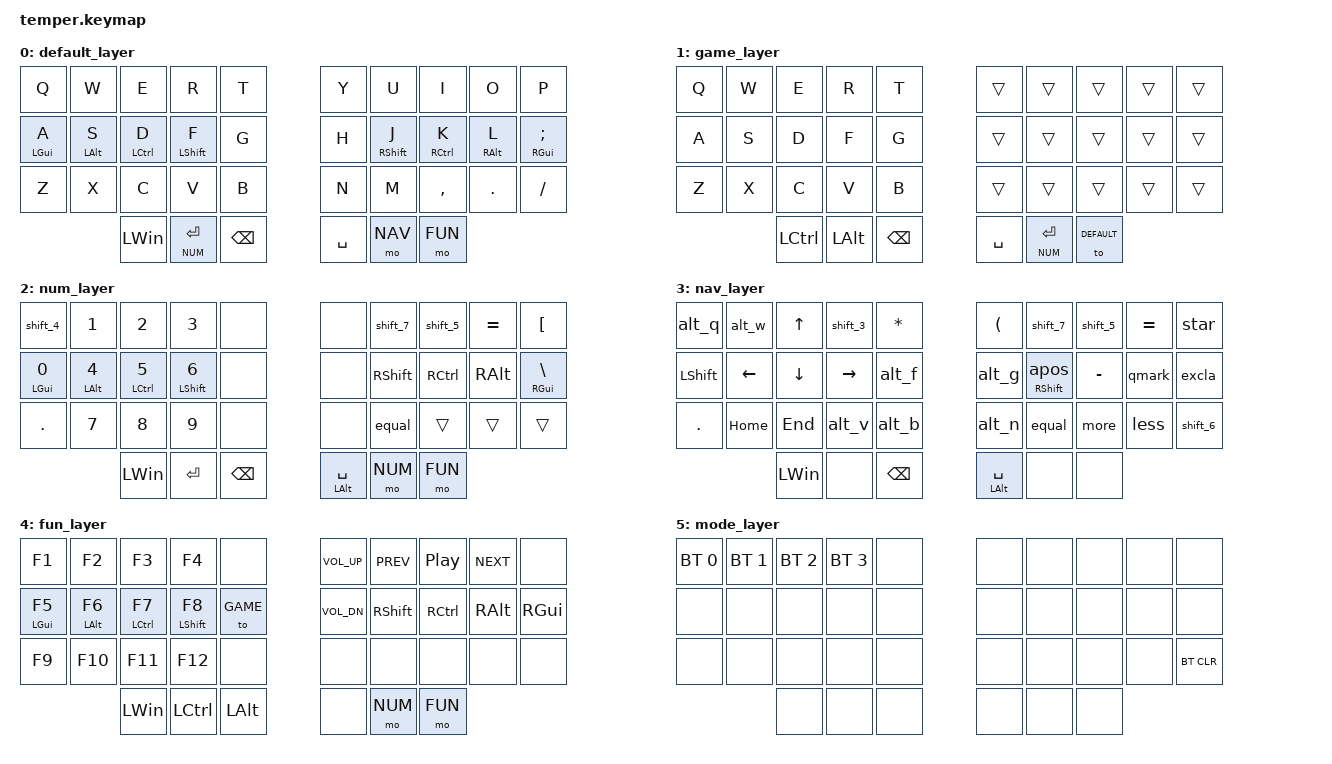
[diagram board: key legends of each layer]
#include <behaviors.dtsi>
#include <dt-bindings/zmk/keys.h>
#include <dt-bindings/zmk/bt.h>
#include <dt-bindings/zmk/outputs.h>

#define DEFAULT 0
#define GAME 1
#define NUM 2
#define NAV 3
#define FUN 4
#define MODE 5

#define ______ &trans
#define xxxxxx &none

/ {
    behaviors {
        hm: homerow_mods {
            compatible = "zmk,behavior-hold-tap";
            #binding-cells = <2>;
            tapping-term-ms = <200>;
            quick-tap-ms = <175>;
            flavor = "balanced";
            bindings = <&kp>, <&kp>;
        };
        hrsft: homerow_shift {
            compatible = "zmk,behavior-hold-tap";
            #binding-cells = <2>;
            tapping-term-ms = <185>;
            quick-tap-ms = <175>;
            flavor = "balanced";
            bindings = <&kp>, <&kp>;
        };
        hrwin: homerow_win {
            compatible = "zmk,behavior-hold-tap";
            #binding-cells = <2>;
            tapping-term-ms = <300>;
            quick-tap-ms = <175>;
            flavor = "balanced";
            bindings = <&kp>, <&kp>;
        };
    hm_fun: homerow_mod_fun {
            compatible = "zmk,behavior-hold-tap";
            #binding-cells = <2>;
            tapping-term-ms = <175>;
            quick-tap-ms = <150>;
            flavor = "balanced";
            bindings = <&kp>, <&apos>;
        };
    tm: thumb_mod {
            compatible = "zmk,behavior-hold-tap";
            #binding-cells = <2>;
            tapping-term-ms = <175>;
            quick-tap-ms = <150>;
            flavor = "hold-preferred";
            bindings = <&mo>, <&kp>;
        };
    };

combos {
        compatible = "zmk,combos";
        combo_esc { timeout-ms = <35>; key-positions = <1 2>; bindings = <&kp ESC>; layers = <0 1 2 3 4>; };
        combo_tab { timeout-ms = <40>; key-positions = <11 12>; bindings = <&kp TAB>; layers = <0 2 3 4>; };
        combo_caps { timeout-ms = <40>; key-positions = <28 29>; bindings = <&kp CAPS>; layers = <0 1 2 3 4>; };
        combo_del { timeout-ms = <40>; key-positions = <22 23>; bindings = <&kp DEL>; layers = <0 2 3 4>; };
        combo_space { timeout-ms = <70>; key-positions = <2 32>; bindings = <&kp SPACE>; layers = <0 2 3 4>; };
    };

    macros {
        alt_f: alt_f { compatible = "zmk,behavior-macro"; #binding-cells = <0>; bindings = <&macro_press &kp RALT>, <&macro_tap &kp F>, <&macro_release &kp RALT>; };
        alt_g: alt_g { compatible = "zmk,behavior-macro"; #binding-cells = <0>; bindings = <&macro_press &kp RALT>, <&macro_tap &kp G>, <&macro_release &kp RALT>; };
        alt_q: alt_q { compatible = "zmk,behavior-macro"; #binding-cells = <0>; bindings = <&macro_press &kp RALT>, <&macro_tap &kp Q>, <&macro_release &kp RALT>; };
        alt_w: alt_w { compatible = "zmk,behavior-macro"; #binding-cells = <0>; bindings = <&macro_press &kp RALT>, <&macro_tap &kp W>, <&macro_release &kp RALT>; };
        alt_v: alt_v { compatible = "zmk,behavior-macro"; #binding-cells = <0>; bindings = <&macro_press &kp RALT>, <&macro_tap &kp V>, <&macro_release &kp RALT>; };
        alt_b: alt_b { compatible = "zmk,behavior-macro"; #binding-cells = <0>; bindings = <&macro_press &kp RALT>, <&macro_tap &kp B>, <&macro_release &kp RALT>; };
        alt_n: alt_n { compatible = "zmk,behavior-macro"; #binding-cells = <0>; bindings = <&macro_press &kp RALT>, <&macro_tap &kp N>, <&macro_release &kp RALT>; };
        under: under { compatible = "zmk,behavior-macro"; #binding-cells = <0>; bindings = <&macro_press &kp LSHIFT>, <&macro_tap &kp FSLH>, <&macro_release &kp LSHIFT>; };
        star: star { compatible = "zmk,behavior-macro"; #binding-cells = <0>; bindings = <&macro_press &kp LSHIFT>, <&macro_tap &kp EQUAL>, <&macro_release &kp LSHIFT>; };
        tilde: tilde { compatible = "zmk,behavior-macro"; #binding-cells = <0>; bindings = <&macro_press &kp RALT>, <&macro_tap &kp N1>, <&macro_release &kp RALT>; };
        apos: apos { compatible = "zmk,behavior-macro"; #binding-cells = <0>; bindings = <&macro_press &kp LSHIFT>, <&macro_tap &kp N2>, <&macro_release &kp LSHIFT>; };
        qmark: qmark { compatible = "zmk,behavior-macro"; #binding-cells = <0>; bindings = <&macro_press &kp LSHIFT>, <&macro_tap &kp MINUS>, <&macro_release &kp LSHIFT>; };
        excla: excla { compatible = "zmk,behavior-macro"; #binding-cells = <0>; bindings = <&macro_press &kp LSHIFT>, <&macro_tap &kp N1>, <&macro_release &kp LSHIFT>; };
        equal: equal { compatible = "zmk,behavior-macro"; #binding-cells = <0>; bindings = <&macro_press &kp LSHIFT>, <&macro_tap &kp N0>, <&macro_release &kp LSHIFT>; };
        more: more { compatible = "zmk,behavior-macro"; #binding-cells = <0>; bindings = <&macro_press &kp RALT>, <&macro_tap &kp COMMA>, <&macro_release &kp RALT>; };
        less: less { compatible = "zmk,behavior-macro"; #binding-cells = <0>; bindings = <&macro_press &kp RALT>, <&macro_tap &kp DOT>, <&macro_release &kp RALT>; };
        eur: eur { compatible = "zmk,behavior-macro"; #binding-cells = <0>; bindings = <&macro_press &kp RALT>, <&macro_tap &kp E>, <&macro_release &kp RALT>; };
        shift_1: shift_1 { compatible = "zmk,behavior-macro"; #binding-cells = <0>; bindings = <&macro_press &kp LSHIFT>, <&macro_tap &kp N1>, <&macro_release &kp LSHIFT>; };
        shift_2: shift_2 { compatible = "zmk,behavior-macro"; #binding-cells = <0>; bindings = <&macro_press &kp LSHIFT>, <&macro_tap &kp N2>, <&macro_release &kp LSHIFT>; };
        shift_3: shift_3 { compatible = "zmk,behavior-macro"; #binding-cells = <0>; bindings = <&macro_press &kp LSHIFT>, <&macro_tap &kp N3>, <&macro_release &kp LSHIFT>; };
        shift_4: shift_4 { compatible = "zmk,behavior-macro"; #binding-cells = <0>; bindings = <&macro_press &kp LSHIFT>, <&macro_tap &kp N4>, <&macro_release &kp LSHIFT>; };
        shift_5: shift_5 { compatible = "zmk,behavior-macro"; #binding-cells = <0>; bindings = <&macro_press &kp LSHIFT>, <&macro_tap &kp N5>, <&macro_release &kp LSHIFT>; };
        shift_6: shift_6 { compatible = "zmk,behavior-macro"; #binding-cells = <0>; bindings = <&macro_press &kp LSHIFT>, <&macro_tap &kp N6>, <&macro_release &kp LSHIFT>; };
        shift_7: shift_7 { compatible = "zmk,behavior-macro"; #binding-cells = <0>; bindings = <&macro_press &kp LSHIFT>, <&macro_tap &kp N7>, <&macro_release &kp LSHIFT>; };
        shift_8: shift_8 { compatible = "zmk,behavior-macro"; #binding-cells = <0>; bindings = <&macro_press &kp LSHIFT>, <&macro_tap &kp N8>, <&macro_release &kp LSHIFT>; };
        shift_9: shift_9 { compatible = "zmk,behavior-macro"; #binding-cells = <0>; bindings = <&macro_press &kp LSHIFT>, <&macro_tap &kp N9>, <&macro_release &kp LSHIFT>; };
        shift_0: shift_0 { compatible = "zmk,behavior-macro"; #binding-cells = <0>; bindings = <&macro_press &kp LSHIFT>, <&macro_tap &kp N0>, <&macro_release &kp LSHIFT>; };
    };

    conditional_layers {
        compatible = "zmk,conditional-layers";
        tri_layer {
            if-layers = <NAV FUN>;
            then-layer = <MODE>;
        };
    };

    keymap {
        compatible = "zmk,keymap";

        default_layer {
            bindings = <
// ╭─────────────┬─────────────┬─────────────┬─────────────┬─────────────╮   ╭─────────────┬─────────────┬─────────────┬─────────────┬─────────────╮
        &kp Q         &kp W          &kp E        &kp R         &kp T             &kp Y         &kp U          &kp I         &kp O        &kp P
// ├─────────────┼─────────────┼─────────────┼─────────────┼─────────────┤   ├─────────────┼─────────────┼─────────────┼─────────────┼─────────────┤
      &hrwin LGUI A    &hm LALT S  &hm LCTRL D    &hrsft LSHIFT F    &kp G             &kp H      &hrsft RSHIFT J   &hm RCTRL K    &hm RALT L   &hrwin RGUI SEMI
// ├─────────────┼─────────────┼─────────────┼─────────────┼─────────────┤   ├─────────────┼─────────────┼─────────────┼─────────────┼─────────────┤
        &kp Z         &kp X          &kp C         &kp V        &kp B             &kp N         &kp M       &kp COMMA      &kp DOT      &kp FSLH
// ╰─────────────┴─────────────┼─────────────┼─────────────┼─────────────┤   ├─────────────┼─────────────┼─────────────┼─────────────┴─────────────╯
                                   &kp LWIN    &tm NUM ENTER   &kp BSPC         &kp SPACE     &mo NAV       &mo FUN
//                             ╰─────────────┴─────────────┴─────────────╯   ╰─────────────┴─────────────┴─────────────╯

            >;
        };

        game_layer {
            bindings = <
// ╭─────────────┬─────────────┬─────────────┬─────────────┬─────────────╮   ╭─────────────┬─────────────┬─────────────┬─────────────┬─────────────╮
        &kp Q         &kp W         &kp E         &kp R        &kp T             ______         ______        ______        ______        ______
// ├─────────────┼─────────────┼─────────────┼─────────────┼─────────────┤   ├─────────────┼─────────────┼─────────────┼─────────────┼─────────────┤
        &kp A         &kp S         &kp D         &kp F         &kp G            ______         ______        ______        ______         ______
// ├─────────────┼─────────────┼─────────────┼─────────────┼─────────────┤   ├─────────────┼─────────────┼─────────────┼─────────────┼─────────────┤
        &kp Z         &kp X         &kp C         &kp V         &kp B            ______         ______         ______        ______        ______
// ╰─────────────┴─────────────┼─────────────┼─────────────┼─────────────┤   ├─────────────┼─────────────┼─────────────┼─────────────┴─────────────╯
                                  &kp LCTRL      &kp LALT      &kp BSPC         &kp SPACE    &lt NUM ENTER  &to DEFAULT
//                             ╰─────────────┴─────────────┴─────────────╯   ╰─────────────┴─────────────┴─────────────╯
            >;
        };

        num_layer {
            bindings = <
// ╭─────────────┬─────────────┬─────────────┬─────────────┬─────────────╮   ╭─────────────┬─────────────┬─────────────┬─────────────┬─────────────╮
       &shift_4     &kp N1         &kp N2        &kp N3       xxxxxx             xxxxxx       &shift_7     &shift_5      &kp EQUAL       &kp LBKT
// ├─────────────┼─────────────┼─────────────┼─────────────┼─────────────┤   ├─────────────┼─────────────┼─────────────┼─────────────┼─────────────┤
  &hrwin LGUI N0   &hm LALT N4  &hm LCTRL N5   &hrsft LSHIFT N6  xxxxxx          xxxxxx       &kp RSHIFT    &kp RCTRL     &kp RALT     &hrwin RGUI BSLH
// ├─────────────┼─────────────┼─────────────┼─────────────┼─────────────┤   ├─────────────┼─────────────┼─────────────┼─────────────┼─────────────┤
        &kp DOT     &kp N7         &kp N8        &kp N9        xxxxxx             xxxxxx        &equal        ______        ______      ______
// ╰─────────────┴─────────────┼─────────────┼─────────────┼─────────────┤   ├─────────────┼─────────────┼─────────────┼─────────────┴─────────────╯
                                  &kp LWIN      &kp ENTER    &kp BSPC          &hm LALT SPACE   &mo NUM       &mo FUN
//                             ╰─────────────┴─────────────┴─────────────╯   ╰─────────────┴─────────────┴─────────────╯
            >;
        };

        nav_layer {
            bindings = <
// ╭─────────────┬─────────────┬─────────────┬─────────────┬─────────────╮   ╭─────────────┬─────────────┬─────────────┬─────────────┬─────────────╮
        &alt_q        &alt_w         &kp UP      &shift_3     &kp STAR            &kp LPAR      &shift_7     &shift_5      &kp EQUAL       &star
// ├─────────────┼─────────────┼─────────────┼─────────────┼─────────────┤   ├─────────────┼─────────────┼─────────────┼─────────────┼─────────────┤
    &kp LSHIFT   &kp LEFT      &kp DOWN      &kp RIGHT     &alt_f             &alt_g    &hm_fun RSHIFT 0    &kp MINUS     &qmark        &excla
// ├─────────────┼─────────────┼─────────────┼─────────────┼─────────────┤   ├─────────────┼─────────────┼─────────────┼─────────────┼─────────────┤
    &kp DOT    &kp HOME      &kp END        &alt_v       &alt_b             &alt_n      &equal           &more        &less     &shift_6
// ╰─────────────┴─────────────┼─────────────┼─────────────┼─────────────┤   ├─────────────┼─────────────┼─────────────┼─────────────┴─────────────╯
                                  &kp LWIN       xxxxxx        &kp BSPC       &hm LALT SPACE      xxxxxx       xxxxxx
//                             ╰─────────────┴─────────────┴─────────────╯   ╰─────────────┴─────────────┴─────────────╯
            >;
        };

        fun_layer {
            bindings = <
// ╭─────────────┬─────────────┬─────────────┬─────────────┬─────────────╮   ╭─────────────┬─────────────┬─────────────┬─────────────┬─────────────╮
        &kp F1        &kp F2        &kp F3        &kp F4        xxxxxx       &kp C_VOL_UP    &kp C_PREV    &kp C_PP      &kp C_NEXT       xxxxxx
// ├─────────────┼─────────────┼─────────────┼─────────────┼─────────────┤   ├─────────────┼─────────────┼─────────────┼─────────────┼─────────────┤
   &hrwin LGUI F5  &hm LALT F6  &hm LCTRL F7  &hrsft LSHFT F8  &to GAME        &kp C_VOL_DN     &kp RSHIFT    &kp RCTRL     &kp RALT     &kp RGUI 
// ├─────────────┼─────────────┼─────────────┼─────────────┼─────────────┤   ├─────────────┼─────────────┼─────────────┼─────────────┼─────────────┤
        &kp F9        &kp F10       &kp F11       &kp F12       xxxxxx           xxxxxx        xxxxxx        xxxxxx        xxxxxx        xxxxxx    
// ╰─────────────┴─────────────┼─────────────┼─────────────┼─────────────┤   ├─────────────┼─────────────┼─────────────┼─────────────┴─────────────╯
                                    &kp LWIN      &kp LCTRL     &kp LALT         xxxxxx        &mo NUM       &mo FUN
//                             ╰─────────────┴─────────────┴─────────────╯   ╰─────────────┴─────────────┴─────────────╯
            >;
        };
        mode_layer {
            bindings = <
// ╭─────────────┬─────────────┬─────────────┬─────────────┬─────────────╮   ╭─────────────┬─────────────┬─────────────┬─────────────┬─────────────╮
      &bt BT_SEL 0   &bt BT_SEL 1  &bt BT_SEL 2  &bt BT_SEL 3   xxxxxx           xxxxxx      xxxxxx        xxxxxx        xxxxxx        xxxxxx    
// ├─────────────┼─────────────┼─────────────┼─────────────┼─────────────┤   ├─────────────┼─────────────┼─────────────┼─────────────┼─────────────┤
       xxxxxx        xxxxxx        xxxxxx        xxxxxx        xxxxxx            xxxxxx     xxxxxx        xxxxxx        xxxxxx        xxxxxx    
// ├─────────────┼─────────────┼─────────────┼─────────────┼─────────────┤   ├─────────────┼─────────────┼─────────────┼─────────────┼─────────────┤
       xxxxxx        xxxxxx        xxxxxx        xxxxxx        xxxxxx           xxxxxx      xxxxxx        xxxxxx        xxxxxx       &bt BT_CLR    
// ╰─────────────┴─────────────┼─────────────┼─────────────┼─────────────┤   ├─────────────┼─────────────┼─────────────┼─────────────┴─────────────╯
                                   xxxxxx         xxxxxx       xxxxxx             xxxxxx       xxxxxx        xxxxxx
//                             ╰─────────────┴─────────────┴─────────────╯   ╰─────────────┴─────────────┴─────────────╯
            >;
        };
    };
};
